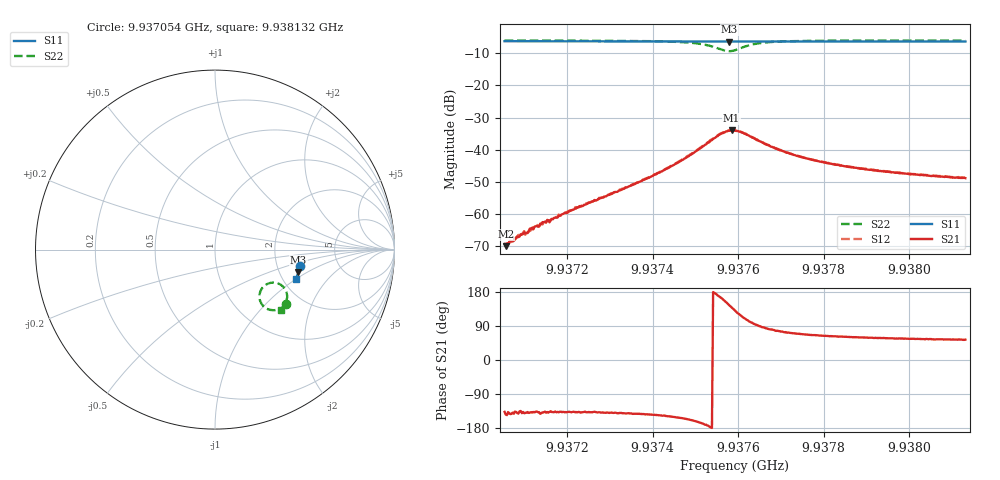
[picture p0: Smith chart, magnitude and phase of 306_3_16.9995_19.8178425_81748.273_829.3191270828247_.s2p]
#  HZ  S  RI  R  50.00
! Rohde & Schwarz Vector Network Analyzer
! Rohde-Schwarz,ZNB20-2Port,1311601062101988,3.16
! Created: UTC 3/20/2024, 11:05:49 PM
! freq[Hz]  re:S11  im:S11  re:S21  im:S21  re:S12  im:S12  re:S22  im:S22
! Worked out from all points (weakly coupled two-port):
!   401 points, 9.937054 GHz to 9.938132 GHz, reference 50 ohm
!   highest |S21| = -34.02 dB at 9.937585 GHz (marker M1); lowest = -70.0 dB at 9.937057 GHz (marker M2)
!   lowest |S11| = -6.4 dB at 9.937579 GHz (marker M3), VSWR 2.85, Z = 127 - j41.2 ohm
!   |S11| at or under -10 dB: nowhere
!   |S22| runs from -9.4 to -6.0 dB; largest |S21 - S12| = 0.00087
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9.9370541e9  0.4758 -0.0914  -0.00025 -0.000234  -0.00028 -0.000177  0.3959 -0.3027
9.9370568e9  0.4758 -0.0916  -0.000256 -0.000186  -0.000248 -0.0002  0.3958 -0.3029
9.9370865e9  0.4752 -0.0936  -0.000341 -0.000273  -0.000363 -0.000303  0.3937 -0.3052
9.937108e9  0.4748 -0.0951  -0.000372 -0.000343  -0.000413 -0.000351  0.392 -0.3068
9.9371242e9  0.4746 -0.0959  -0.000475 -0.000424  -0.000461 -0.000431  0.3909 -0.3076
9.9371376e9  0.4742 -0.097  -0.000561 -0.000438  -0.000507 -0.000462  0.3897 -0.3087
9.9372346e9  0.4724 -0.1037  -0.000984 -0.000888  -0.00101 -0.000889  0.381 -0.3166
9.9373235e9  0.4707 -0.1096  -0.00178 -0.00151  -0.00186 -0.0015  0.3698 -0.3247
9.9374151e9  0.4687 -0.1158  -0.00363 -0.00246  -0.00373 -0.00244  0.3492 -0.3343
9.9374663e9  0.4673 -0.1193  -0.00596 -0.00304  -0.00614 -0.00298  0.3272 -0.338
9.9375201e9  0.4655 -0.1229  -0.0113 -0.00219  -0.0116 -0.00197  0.283 -0.3256
9.9375525e9  0.4641 -0.1245  -0.016 0.00275  -0.0165 0.0031  0.25 -0.2809
9.9375794e9  0.4634 -0.1251  -0.0161 0.0115  -0.0158 0.0121  0.2645 -0.2124
9.9375848e9  0.4634 -0.1254  -0.0149 0.0131  -0.0148 0.0137  0.2756 -0.2013
9.9375929e9  0.4633 -0.1257  -0.0129 0.0151  -0.0125 0.0156  0.2959 -0.1893
9.9376117e9  0.4636 -0.1265  -0.00695 0.0169  -0.00648 0.0171  0.3437 -0.1862
9.9376494e9  0.4636 -0.1292  0.000113 0.0137  0.000434 0.0137  0.3922 -0.2238
9.9377114e9  0.4627 -0.1338  0.00255 0.00877  0.00278 0.00872  0.4018 -0.2692
9.9377733e9  0.4612 -0.1381  0.00287 0.00636  0.003 0.00636  0.3968 -0.2912
9.9378542e9  0.4594 -0.1436  0.00265 0.0048  0.00277 0.00477  0.389 -0.3073
9.9379538e9  0.4569 -0.1501  0.00243 0.00377  0.00254 0.00378  0.3809 -0.3194
9.9381316e9  0.4524 -0.1615  0.00214 0.00291  0.00227 0.00289  0.3681 -0.3344
